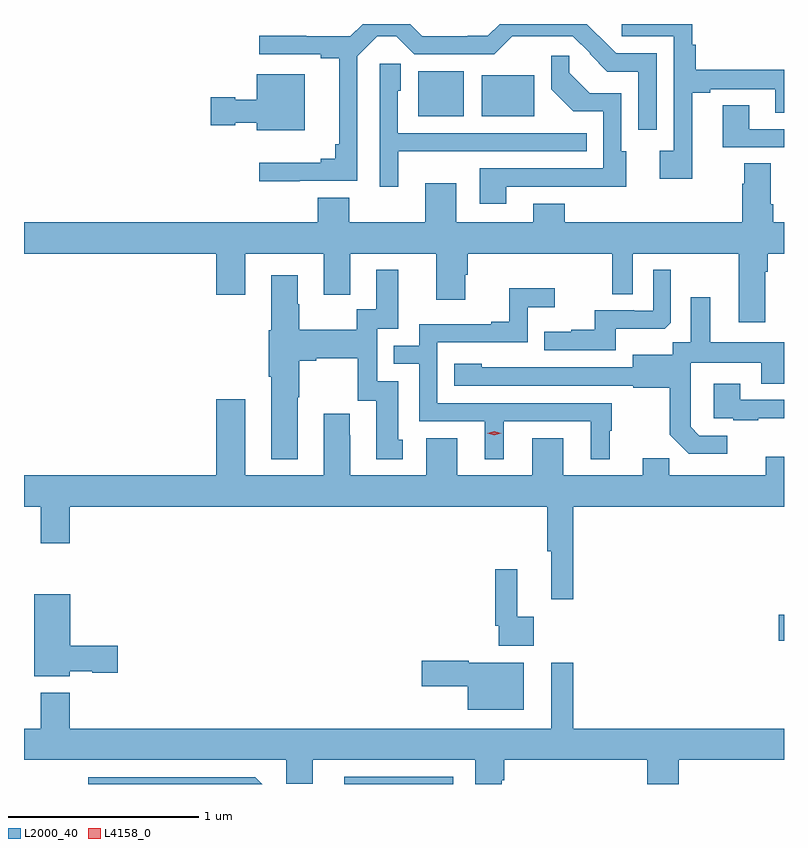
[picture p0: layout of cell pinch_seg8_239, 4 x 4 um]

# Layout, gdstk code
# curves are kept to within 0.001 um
import gdstk
lib = gdstk.Library(unit=1e-6, precision=1e-09)
def R(c, l, rs):  # rectangles x0, y0, x1, y1
    for r in rs: c.add(gdstk.rectangle(r[:2], r[2:], *l))
def P(c, l, *ps):  # polygons
    for p in ps: c.add(gdstk.Polygon(p, *l))
L2000_40 = (2000, 40)
L4158_0 = (4158, 0)

pinch_seg8_239 = lib.new_cell('pinch_seg8_239')
R(pinch_seg8_239, L2000_40, [(685.295,1107.048,685.869,1107.087), (687.582,1107.803,687.61,1107.938), (685.685,1110.563,685.924,1110.799), (686.018,1110.563,686.296,1110.778)])
P(pinch_seg8_239, L2000_40, [(685.061,1110.222),(685.365,1110.222),(685.365,1110.879),(685.469,1110.983),(685.57,1110.983),(685.665,1110.888),(686.085,1110.888),(686.18,1110.983),(686.499,1110.984),(686.589,1110.894),(686.587,1110.892),(686.681,1110.798),(686.844,1110.798),(686.844,1110.492),(686.94,1110.492),(686.94,1110.894),(686.727,1110.894),(686.571,1111.048),(686.113,1111.048),(686.051,1110.986),(685.946,1110.986),(685.946,1110.984),(685.707,1110.984),(685.643,1111.048),(685.392,1111.048),(685.328,1110.984),(685.095,1110.984),(685.095,1110.986),(684.849,1110.986),(684.849,1110.888),(685.172,1110.888),(685.172,1110.868),(685.268,1110.868),(685.268,1110.415),(685.249,1110.415),(685.249,1110.338),(685.172,1110.338),(685.172,1110.319),(684.849,1110.319),(684.849,1110.221)],
  [(687.127,1110.685),(687.223,1110.685),(687.223,1110.705),(687.563,1110.705),(687.563,1110.58),(687.61,1110.58),(687.61,1110.806),(687.146,1110.806),(687.146,1110.938),(687.128,1110.938),(687.128,1111.048),(686.757,1111.048),(686.757,1110.984),(687.03,1110.984),(687.03,1110.382),(686.955,1110.382),(686.955,1110.234),(687.127,1110.234)],
  [(686.149,1110.192),(686.779,1110.191),(686.779,1110.378),(686.754,1110.378),(686.754,1110.684),(686.588,1110.684),(686.48,1110.792),(686.48,1110.88),(686.385,1110.88),(686.385,1110.704),(686.501,1110.588),(686.658,1110.588),(686.658,1110.288),(686.009,1110.288),(686.009,1110.102),(686.149,1110.102)],
  [(685.579,1110.377),(685.913,1110.377),(685.913,1110.378),(686.573,1110.378),(686.573,1110.474),(685.578,1110.474),(685.578,1110.696),(685.594,1110.696),(685.594,1110.839),(685.482,1110.839),(685.482,1110.192),(685.579,1110.192)],
  [(685.087,1110.784),(684.836,1110.784),(684.836,1110.649),(684.723,1110.649),(684.723,1110.662),(684.594,1110.662),(684.594,1110.515),(684.723,1110.515),(684.723,1110.527),(684.836,1110.527),(684.836,1110.488),(685.087,1110.488)],
  [(687.61,1110.495),(687.427,1110.495),(687.427,1110.62),(687.287,1110.62),(687.287,1110.399),(687.61,1110.399)],
  [(687.511,1109.744),(687.524,1109.744),(687.524,1109.84),(687.61,1109.84),(687.61,1110.004),(687.554,1110.004),(687.554,1110.1),(687.541,1110.1),(687.541,1110.314),(687.401,1110.314),(687.401,1110.206),(687.389,1110.206),(687.389,1110.004),(686.455,1110.004),(686.455,1110.103),(686.291,1110.103),(686.291,1110.004),(685.885,1110.004),(685.885,1110.211),(685.721,1110.211),(685.721,1110.004),(685.321,1110.004),(685.321,1110.133),(685.157,1110.133),(685.157,1110.004),(683.61,1110.004),(683.61,1109.84),(684.623,1109.84),(684.623,1109.622),(684.775,1109.622),(684.775,1109.84),(685.187,1109.84),(685.187,1109.622),(685.327,1109.622),(685.327,1109.84),(685.781,1109.84),(685.781,1109.598),(685.933,1109.598),(685.933,1109.727),(685.946,1109.727),(685.946,1109.84),(686.706,1109.84),(686.706,1109.626),(686.814,1109.626),(686.814,1109.84),(687.371,1109.84),(687.371,1109.478),(687.511,1109.478)],
  [(685.051,1109.083),(685.059,1109.083),(685.059,1109.276),(685.147,1109.276),(685.147,1109.288),(685.367,1109.288),(685.367,1109.064),(685.463,1109.064),(685.463,1108.758),(685.603,1108.758),(685.603,1108.86),(685.579,1108.86),(685.579,1109.169),(685.47,1109.169),(685.47,1109.445),(685.579,1109.445),(685.579,1109.755),(685.463,1109.755),(685.463,1109.546),(685.362,1109.546),(685.362,1109.44),(685.059,1109.44),(685.059,1109.574),(685.051,1109.574),(685.051,1109.725),(684.911,1109.725),(684.911,1109.436),(684.899,1109.436),(684.899,1109.192),(684.911,1109.192),(684.911,1108.757),(685.051,1108.757)],
  [(686.725,1109.444),(686.983,1109.444),(687.015,1109.475),(687.015,1109.755),(686.922,1109.755),(686.922,1109.538),(686.822,1109.538),(686.822,1109.541),(686.615,1109.541),(686.615,1109.44),(686.491,1109.44),(686.491,1109.428),(686.347,1109.428),(686.347,1109.331),(686.725,1109.331)],
  [(686.134,1108.956),(686.594,1108.956),(686.594,1108.757),(686.692,1108.757),(686.692,1108.908),(686.704,1108.908),(686.704,1109.052),(685.785,1109.052),(685.785,1109.373),(686.262,1109.373),(686.262,1109.558),(686.404,1109.558),(686.404,1109.657),(686.164,1109.657),(686.164,1109.482),(686.069,1109.482),(686.069,1109.469),(685.689,1109.469),(685.689,1109.355),(685.555,1109.355),(685.555,1109.259),(685.689,1109.259),(685.689,1108.956),(686.036,1108.956),(686.036,1108.757),(686.134,1108.757)],
  [(687.31,1108.881),(687.165,1108.881),(687.118,1108.928),(687.118,1109.023),(687.12,1109.023),(687.12,1109.264),(687.491,1109.264),(687.491,1109.155),(687.61,1109.155),(687.61,1109.374),(687.223,1109.374),(687.223,1109.611),(687.119,1109.611),(687.119,1109.372),(687.024,1109.372),(687.024,1109.308),(686.813,1109.308),(686.813,1109.241),(686.019,1109.242),(686.019,1109.26),(685.875,1109.26),(685.875,1109.145),(686.817,1109.145),(686.817,1109.133),(687.009,1109.133),(687.009,1108.887),(687.109,1108.787),(687.31,1108.787)],
  [(687.475,1108.973),(687.61,1108.973),(687.61,1109.07),(687.379,1109.07),(687.379,1109.155),(687.239,1109.155),(687.239,1108.974),(687.343,1108.974),(687.343,1108.962),(687.475,1108.962)],
  [(686.501,1108.508),(687.61,1108.508),(687.61,1108.771),(687.515,1108.771),(687.515,1108.672),(687.005,1108.672),(687.005,1108.763),(686.867,1108.763),(686.867,1108.672),(686.449,1108.672),(686.449,1108.867),(686.285,1108.867),(686.285,1108.672),(685.891,1108.672),(685.891,1108.867),(685.727,1108.867),(685.727,1108.672),(685.327,1108.672),(685.327,1108.883),(685.324,1108.883),(685.324,1108.996),(685.187,1108.996),(685.187,1108.672),(684.775,1108.672),(684.775,1109.074),(684.623,1109.074),(684.623,1108.672),(683.61,1108.672),(683.61,1108.508),(683.699,1108.508),(683.699,1108.314),(683.852,1108.314),(683.852,1108.508),(686.365,1108.508),(686.365,1108.272),(686.384,1108.272),(686.384,1108.02),(686.501,1108.02)],
  [(686.293,1107.929),(686.207,1107.929),(686.207,1108.177),(686.089,1108.177),(686.089,1107.88),(686.109,1107.88),(686.109,1107.776),(686.293,1107.776)],
  [(683.85,1107.641),(683.97,1107.641),(683.97,1107.634),(684.103,1107.634),(684.103,1107.776),(683.854,1107.776),(683.854,1108.048),(683.663,1108.048),(683.663,1107.614),(683.85,1107.614)],
  [(686.239,1107.685),(685.95,1107.685),(685.95,1107.698),(685.704,1107.698),(685.704,1107.563),(685.946,1107.563),(685.946,1107.44),(686.239,1107.44)],
  [(686.124,1107.067),(686.138,1107.067),(686.138,1107.176),(686.891,1107.176),(686.891,1107.048),(687.056,1107.048),(687.056,1107.176),(687.61,1107.176),(687.61,1107.34),(686.501,1107.34),(686.501,1107.685),(686.384,1107.685),(686.384,1107.34),(683.852,1107.34),(683.852,1107.529),(683.699,1107.529),(683.699,1107.34),(683.61,1107.34),(683.61,1107.176),(684.99,1107.176),(684.99,1107.049),(685.129,1107.049),(685.129,1107.176),(685.985,1107.176),(685.985,1107.048),(686.124,1107.048)],
  [(684.828,1107.084),(683.949,1107.084),(683.949,1107.048),(684.864,1107.048)])
P(pinch_seg8_239, L4158_0, [(686.085,1108.884),(686.049,1108.893),(686.049,1108.893),(686.049,1108.894),(686.085,1108.904),(686.121,1108.895),(686.121,1108.895),(686.121,1108.894)])

lib.write_gds('pinch_seg8_239.gds')
